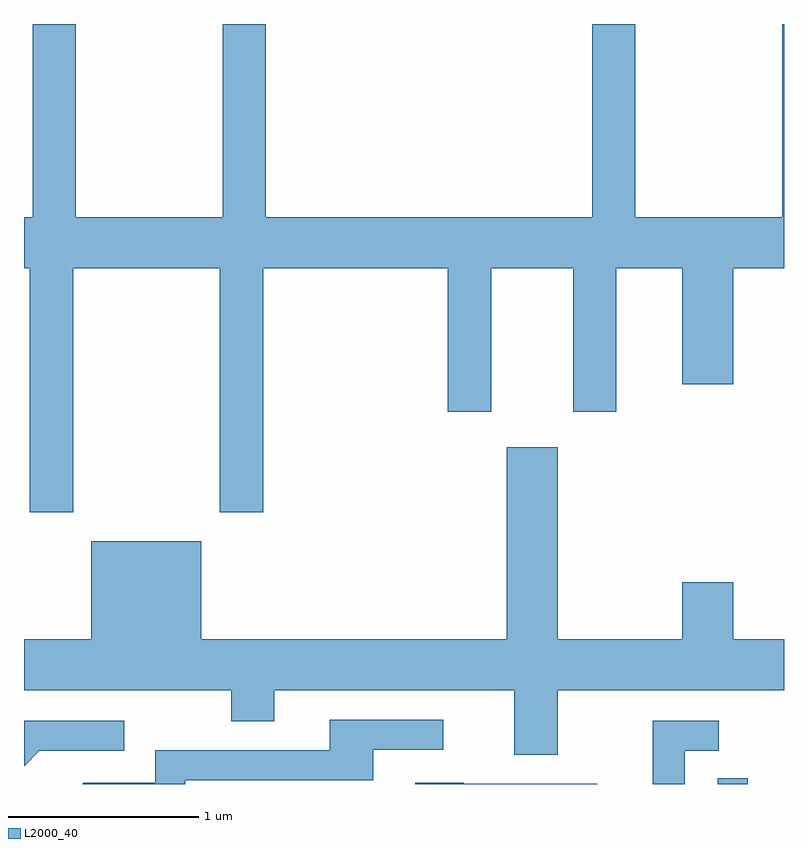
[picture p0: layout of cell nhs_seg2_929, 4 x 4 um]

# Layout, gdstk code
import gdstk
lib = gdstk.Library(unit=1e-6, precision=1e-09)
def R(c, l, rs):  # rectangles x0, y0, x1, y1
    for r in rs: c.add(gdstk.rectangle(r[:2], r[2:], *l))
def P(c, l, *ps):  # polygons
    for p in ps: c.add(gdstk.Polygon(p, *l))
L2000_40 = (2000, 40)

nhs_seg2_929 = lib.new_cell('nhs_seg2_929')
R(nhs_seg2_929, L2000_40, [(215.261,1067.802,215.419,1067.833)])
P(nhs_seg2_929, L2000_40, [(211.869,1070.516),(212.641,1070.516),(212.641,1069.231),(212.869,1069.231),(212.869,1070.516),(213.841,1070.516),(213.841,1069.761),(214.069,1069.761),(214.069,1070.516),(214.501,1070.516),(214.501,1069.761),(214.729,1069.761),(214.729,1070.516),(215.076,1070.516),(215.076,1069.906),(215.344,1069.906),(215.344,1070.516),(215.611,1070.516),(215.611,1071.802),(215.601,1071.802),(215.601,1070.784),(214.829,1070.784),(214.829,1071.802),(214.601,1071.802),(214.601,1070.784),(212.884,1070.784),(212.884,1071.802),(212.656,1071.802),(212.656,1070.784),(211.884,1070.784),(211.884,1071.802),(211.656,1071.802),(211.656,1070.784),(211.611,1070.784),(211.611,1070.516),(211.641,1070.516),(211.641,1069.231),(211.869,1069.231)],
  [(214.419,1068.296),(215.611,1068.296),(215.611,1068.564),(215.344,1068.564),(215.344,1068.864),(215.076,1068.864),(215.076,1068.564),(214.419,1068.564),(214.419,1069.574),(214.151,1069.574),(214.151,1068.564),(212.544,1068.564),(212.544,1069.079),(211.966,1069.079),(211.966,1068.564),(211.611,1068.564),(211.611,1068.296),(212.701,1068.296),(212.701,1068.131),(212.929,1068.131),(212.929,1068.296),(214.191,1068.296),(214.191,1067.956),(214.419,1067.956)],
  [(212.459,1067.821),(213.449,1067.821),(213.449,1067.981),(213.818,1067.981),(213.818,1068.139),(213.221,1068.139),(213.221,1067.979),(212.301,1067.979),(212.301,1067.809),(211.924,1067.809),(211.917,1067.802),(212.459,1067.802)],
  [(211.692,1067.976),(212.138,1067.976),(212.138,1068.134),(211.611,1068.134),(211.611,1067.896)],
  [(215.089,1067.976),(215.268,1067.976),(215.268,1068.134),(214.921,1068.134),(214.921,1067.802),(215.089,1067.802)],
  [(214.629,1067.804),(213.925,1067.804),(213.925,1067.809),(213.671,1067.809),(213.671,1067.802),(214.629,1067.802)])

lib.write_gds('nhs_seg2_929.gds')
